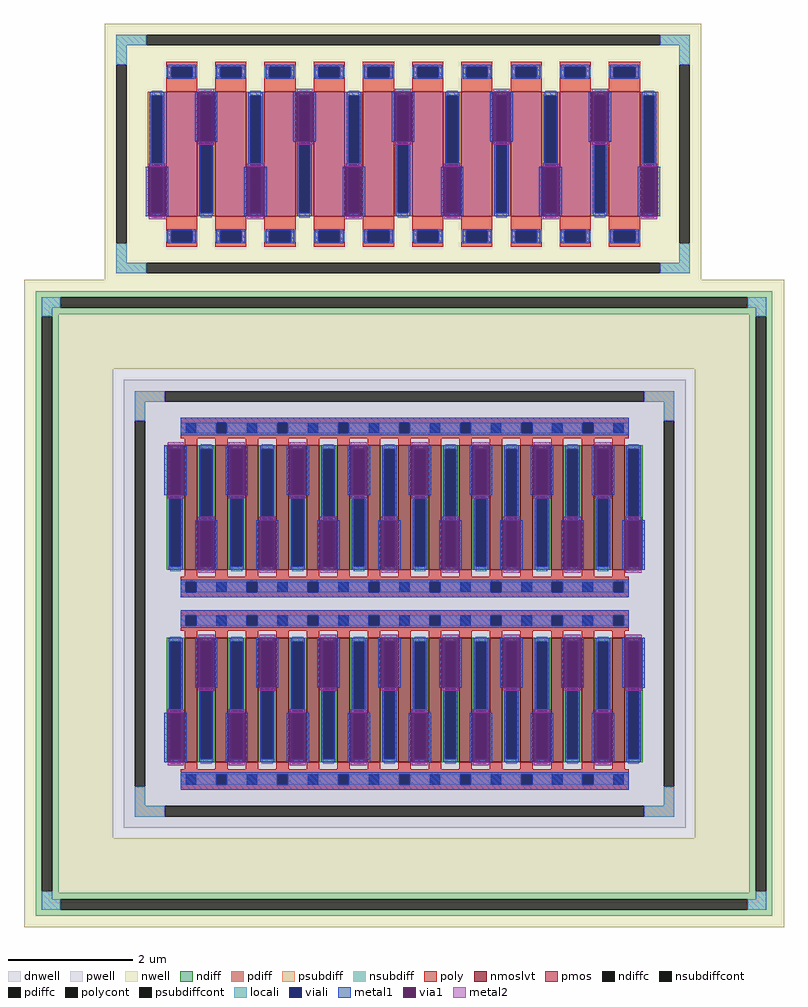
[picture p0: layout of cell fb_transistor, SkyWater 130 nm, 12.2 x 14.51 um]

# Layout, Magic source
magic
tech sky130A
magscale 1 2
<< dnwell >>
rect 5500 1960 7780 3880
<< nwell >>
rect 5420 3674 7860 3960
rect 5420 2166 5706 3674
rect 7574 2166 7860 3674
rect 5420 1880 7860 2166
<< pwell >>
rect 5923 3450 7361 3516
rect 5923 2940 7361 3006
rect 5923 2832 7361 2898
rect 5923 2322 7361 2388
<< nsubdiff >>
rect 5457 3903 7823 3923
rect 5457 3869 5537 3903
rect 7743 3869 7823 3903
rect 5457 3849 7823 3869
rect 5457 3843 5531 3849
rect 5457 1997 5477 3843
rect 5511 1997 5531 3843
rect 7749 3843 7823 3849
rect 5457 1991 5531 1997
rect 7749 1997 7769 3843
rect 7803 1997 7823 3843
rect 7749 1991 7823 1997
rect 5457 1971 7823 1991
rect 5457 1937 5537 1971
rect 7743 1937 7823 1971
rect 5457 1917 7823 1937
<< nsubdiffcont >>
rect 5537 3869 7743 3903
rect 5477 1997 5511 3843
rect 7769 1997 7803 3843
rect 5537 1937 7743 1971
<< poly >>
rect 5923 3500 7361 3516
rect 5923 3466 6037 3500
rect 6071 3466 6233 3500
rect 6267 3466 6429 3500
rect 6463 3466 6625 3500
rect 6659 3466 6821 3500
rect 6855 3466 7017 3500
rect 7051 3466 7213 3500
rect 7247 3466 7361 3500
rect 5923 3450 7361 3466
rect 5923 2990 7361 3006
rect 5923 2956 5939 2990
rect 5973 2956 6135 2990
rect 6169 2956 6331 2990
rect 6365 2956 6527 2990
rect 6561 2956 6723 2990
rect 6757 2956 6919 2990
rect 6953 2956 7115 2990
rect 7149 2956 7311 2990
rect 7345 2956 7361 2990
rect 5923 2940 7361 2956
rect 5923 2882 7361 2898
rect 5923 2848 5939 2882
rect 5973 2848 6135 2882
rect 6169 2848 6331 2882
rect 6365 2848 6527 2882
rect 6561 2848 6723 2882
rect 6757 2848 6919 2882
rect 6953 2848 7115 2882
rect 7149 2848 7311 2882
rect 7345 2848 7361 2882
rect 5923 2832 7361 2848
rect 5923 2372 7361 2388
rect 5923 2338 6037 2372
rect 6071 2338 6233 2372
rect 6267 2338 6429 2372
rect 6463 2338 6625 2372
rect 6659 2338 6821 2372
rect 6855 2338 7017 2372
rect 7051 2338 7213 2372
rect 7247 2338 7361 2372
rect 5923 2322 7361 2338
<< polycont >>
rect 6037 3466 6071 3500
rect 6233 3466 6267 3500
rect 6429 3466 6463 3500
rect 6625 3466 6659 3500
rect 6821 3466 6855 3500
rect 7017 3466 7051 3500
rect 7213 3466 7247 3500
rect 5939 2956 5973 2990
rect 6135 2956 6169 2990
rect 6331 2956 6365 2990
rect 6527 2956 6561 2990
rect 6723 2956 6757 2990
rect 6919 2956 6953 2990
rect 7115 2956 7149 2990
rect 7311 2956 7345 2990
rect 5939 2848 5973 2882
rect 6135 2848 6169 2882
rect 6331 2848 6365 2882
rect 6527 2848 6561 2882
rect 6723 2848 6757 2882
rect 6919 2848 6953 2882
rect 7115 2848 7149 2882
rect 7311 2848 7345 2882
rect 6037 2338 6071 2372
rect 6233 2338 6267 2372
rect 6429 2338 6463 2372
rect 6625 2338 6659 2372
rect 6821 2338 6855 2372
rect 7017 2338 7051 2372
rect 7213 2338 7247 2372
<< locali >>
rect 5477 3869 5537 3903
rect 7743 3869 7803 3903
rect 5477 3843 5511 3869
rect 7769 3843 7803 3869
rect 5923 3466 6037 3500
rect 6071 3466 6233 3500
rect 6267 3466 6429 3500
rect 6463 3466 6625 3500
rect 6659 3466 6821 3500
rect 6855 3466 7017 3500
rect 7051 3466 7213 3500
rect 7247 3466 7361 3500
rect 5923 2956 5939 2990
rect 5973 2956 6135 2990
rect 6169 2956 6331 2990
rect 6365 2956 6527 2990
rect 6561 2956 6723 2990
rect 6757 2956 6919 2990
rect 6953 2956 7115 2990
rect 7149 2956 7311 2990
rect 7345 2956 7361 2990
rect 5923 2848 5939 2882
rect 5973 2848 6135 2882
rect 6169 2848 6331 2882
rect 6365 2848 6527 2882
rect 6561 2848 6723 2882
rect 6757 2848 6919 2882
rect 6953 2848 7115 2882
rect 7149 2848 7311 2882
rect 7345 2848 7361 2882
rect 5923 2338 6037 2372
rect 6071 2338 6233 2372
rect 6267 2338 6429 2372
rect 6463 2338 6625 2372
rect 6659 2338 6821 2372
rect 6855 2338 7017 2372
rect 7051 2338 7213 2372
rect 7247 2338 7361 2372
rect 5477 1971 5511 1997
rect 7769 1971 7803 1997
rect 5477 1937 5537 1971
rect 7743 1937 7803 1971
<< viali >>
rect 6037 3466 6071 3500
rect 6233 3466 6267 3500
rect 6429 3466 6463 3500
rect 6625 3466 6659 3500
rect 6821 3466 6855 3500
rect 7017 3466 7051 3500
rect 7213 3466 7247 3500
rect 5939 2956 5973 2990
rect 6135 2956 6169 2990
rect 6331 2956 6365 2990
rect 6527 2956 6561 2990
rect 6723 2956 6757 2990
rect 6919 2956 6953 2990
rect 7115 2956 7149 2990
rect 7311 2956 7345 2990
rect 5939 2848 5973 2882
rect 6135 2848 6169 2882
rect 6331 2848 6365 2882
rect 6527 2848 6561 2882
rect 6723 2848 6757 2882
rect 6919 2848 6953 2882
rect 7115 2848 7149 2882
rect 7311 2848 7345 2882
rect 6037 2338 6071 2372
rect 6233 2338 6267 2372
rect 6429 2338 6463 2372
rect 6625 2338 6659 2372
rect 6821 2338 6855 2372
rect 7017 2338 7051 2372
rect 7213 2338 7247 2372
<< metal1 >>
rect 5969 4403 5979 4563
rect 6031 4403 6041 4563
rect 6285 4403 6295 4563
rect 6347 4403 6357 4563
rect 6601 4403 6611 4563
rect 6663 4403 6673 4563
rect 6917 4403 6927 4563
rect 6979 4403 6989 4563
rect 7233 4403 7243 4563
rect 7295 4403 7305 4563
rect 5811 4163 5821 4323
rect 5873 4163 5883 4323
rect 6127 4163 6137 4323
rect 6189 4163 6199 4323
rect 6443 4163 6453 4323
rect 6505 4163 6515 4323
rect 6759 4163 6769 4323
rect 6821 4163 6831 4323
rect 7075 4163 7085 4323
rect 7137 4163 7147 4323
rect 7391 4163 7401 4323
rect 7453 4163 7463 4323
rect 5923 3500 7361 3516
rect 5923 3466 6037 3500
rect 6071 3466 6233 3500
rect 6267 3466 6429 3500
rect 6463 3466 6625 3500
rect 6659 3466 6821 3500
rect 6855 3466 7017 3500
rect 7051 3466 7213 3500
rect 7247 3466 7361 3500
rect 5923 3460 7361 3466
rect 5871 3268 5881 3428
rect 5933 3268 5943 3428
rect 6067 3268 6077 3428
rect 6129 3268 6139 3428
rect 6263 3268 6273 3428
rect 6325 3268 6335 3428
rect 6459 3268 6469 3428
rect 6521 3268 6531 3428
rect 6655 3268 6665 3428
rect 6717 3268 6727 3428
rect 6851 3268 6861 3428
rect 6913 3268 6923 3428
rect 7047 3268 7057 3428
rect 7109 3268 7119 3428
rect 7243 3268 7253 3428
rect 7305 3268 7315 3428
rect 5969 3028 5979 3188
rect 6031 3028 6041 3188
rect 6165 3028 6175 3188
rect 6227 3028 6237 3188
rect 6361 3028 6371 3188
rect 6423 3028 6433 3188
rect 6557 3028 6567 3188
rect 6619 3028 6629 3188
rect 6753 3028 6763 3188
rect 6815 3028 6825 3188
rect 6949 3028 6959 3188
rect 7011 3028 7021 3188
rect 7145 3028 7155 3188
rect 7207 3028 7217 3188
rect 7341 3028 7351 3188
rect 7403 3028 7413 3188
rect 5923 2990 7361 2996
rect 5923 2956 5939 2990
rect 5973 2956 6135 2990
rect 6169 2956 6331 2990
rect 6365 2956 6527 2990
rect 6561 2956 6723 2990
rect 6757 2956 6919 2990
rect 6953 2956 7115 2990
rect 7149 2956 7311 2990
rect 7345 2956 7361 2990
rect 5923 2940 7361 2956
rect 5923 2882 7361 2898
rect 5923 2848 5939 2882
rect 5973 2848 6135 2882
rect 6169 2848 6331 2882
rect 6365 2848 6527 2882
rect 6561 2848 6723 2882
rect 6757 2848 6919 2882
rect 6953 2848 7115 2882
rect 7149 2848 7311 2882
rect 7345 2848 7361 2882
rect 5923 2842 7361 2848
rect 5969 2650 5979 2810
rect 6031 2650 6041 2810
rect 6165 2650 6175 2810
rect 6227 2650 6237 2810
rect 6361 2650 6371 2810
rect 6423 2650 6433 2810
rect 6557 2650 6567 2810
rect 6619 2650 6629 2810
rect 6753 2650 6763 2810
rect 6815 2650 6825 2810
rect 6949 2650 6959 2810
rect 7011 2650 7021 2810
rect 7145 2650 7155 2810
rect 7207 2650 7217 2810
rect 7341 2650 7351 2810
rect 7403 2650 7413 2810
rect 5871 2410 5881 2570
rect 5933 2410 5943 2570
rect 6067 2410 6077 2570
rect 6129 2410 6139 2570
rect 6263 2410 6273 2570
rect 6325 2410 6335 2570
rect 6459 2410 6469 2570
rect 6521 2410 6531 2570
rect 6655 2410 6665 2570
rect 6717 2410 6727 2570
rect 6851 2410 6861 2570
rect 6913 2410 6923 2570
rect 7047 2410 7057 2570
rect 7109 2410 7119 2570
rect 7243 2410 7253 2570
rect 7305 2410 7315 2570
rect 5923 2372 7361 2378
rect 5923 2338 6037 2372
rect 6071 2338 6233 2372
rect 6267 2338 6429 2372
rect 6463 2338 6625 2372
rect 6659 2338 6821 2372
rect 6855 2338 7017 2372
rect 7051 2338 7213 2372
rect 7247 2338 7361 2372
rect 5923 2322 7361 2338
<< via1 >>
rect 5979 4403 6031 4563
rect 6295 4403 6347 4563
rect 6611 4403 6663 4563
rect 6927 4403 6979 4563
rect 7243 4403 7295 4563
rect 5821 4163 5873 4323
rect 6137 4163 6189 4323
rect 6453 4163 6505 4323
rect 6769 4163 6821 4323
rect 7085 4163 7137 4323
rect 7401 4163 7453 4323
rect 5881 3268 5933 3428
rect 6077 3268 6129 3428
rect 6273 3268 6325 3428
rect 6469 3268 6521 3428
rect 6665 3268 6717 3428
rect 6861 3268 6913 3428
rect 7057 3268 7109 3428
rect 7253 3268 7305 3428
rect 5979 3028 6031 3188
rect 6175 3028 6227 3188
rect 6371 3028 6423 3188
rect 6567 3028 6619 3188
rect 6763 3028 6815 3188
rect 6959 3028 7011 3188
rect 7155 3028 7207 3188
rect 7351 3028 7403 3188
rect 5979 2650 6031 2810
rect 6175 2650 6227 2810
rect 6371 2650 6423 2810
rect 6567 2650 6619 2810
rect 6763 2650 6815 2810
rect 6959 2650 7011 2810
rect 7155 2650 7207 2810
rect 7351 2650 7403 2810
rect 5881 2410 5933 2570
rect 6077 2410 6129 2570
rect 6273 2410 6325 2570
rect 6469 2410 6521 2570
rect 6665 2410 6717 2570
rect 6861 2410 6913 2570
rect 7057 2410 7109 2570
rect 7253 2410 7305 2570
<< metal2 >>
rect 5979 4563 6031 4573
rect 5979 4393 6031 4403
rect 6295 4563 6347 4573
rect 6295 4393 6347 4403
rect 6611 4563 6663 4573
rect 6611 4393 6663 4403
rect 6927 4563 6979 4573
rect 6927 4393 6979 4403
rect 7243 4563 7295 4573
rect 7243 4393 7295 4403
rect 5821 4323 5873 4333
rect 5821 4153 5873 4163
rect 6137 4323 6189 4333
rect 6137 4153 6189 4163
rect 6453 4323 6505 4333
rect 6453 4153 6505 4163
rect 6769 4323 6821 4333
rect 6769 4153 6821 4163
rect 7085 4323 7137 4333
rect 7085 4153 7137 4163
rect 7401 4323 7453 4333
rect 7401 4153 7453 4163
rect 5881 3428 5933 3438
rect 5881 3258 5933 3268
rect 6077 3428 6129 3438
rect 6077 3258 6129 3268
rect 6273 3428 6325 3438
rect 6273 3258 6325 3268
rect 6469 3428 6521 3438
rect 6469 3258 6521 3268
rect 6665 3428 6717 3438
rect 6665 3258 6717 3268
rect 6861 3428 6913 3438
rect 6861 3258 6913 3268
rect 7057 3428 7109 3438
rect 7057 3258 7109 3268
rect 7253 3428 7305 3438
rect 7253 3258 7305 3268
rect 5979 3188 6031 3198
rect 5979 3018 6031 3028
rect 6175 3188 6227 3198
rect 6175 3018 6227 3028
rect 6371 3188 6423 3198
rect 6371 3018 6423 3028
rect 6567 3188 6619 3198
rect 6567 3018 6619 3028
rect 6763 3188 6815 3198
rect 6763 3018 6815 3028
rect 6959 3188 7011 3198
rect 6959 3018 7011 3028
rect 7155 3188 7207 3198
rect 7155 3018 7207 3028
rect 7351 3188 7403 3198
rect 7351 3018 7403 3028
rect 5979 2810 6031 2820
rect 5979 2640 6031 2650
rect 6175 2810 6227 2820
rect 6175 2640 6227 2650
rect 6371 2810 6423 2820
rect 6371 2640 6423 2650
rect 6567 2810 6619 2820
rect 6567 2640 6619 2650
rect 6763 2810 6815 2820
rect 6763 2640 6815 2650
rect 6959 2810 7011 2820
rect 6959 2640 7011 2650
rect 7155 2810 7207 2820
rect 7155 2640 7207 2650
rect 7351 2810 7403 2820
rect 7351 2640 7403 2650
rect 5881 2570 5933 2580
rect 5881 2400 5933 2410
rect 6077 2570 6129 2580
rect 6077 2400 6129 2410
rect 6273 2570 6325 2580
rect 6273 2400 6325 2410
rect 6469 2570 6521 2580
rect 6469 2400 6521 2410
rect 6665 2570 6717 2580
rect 6665 2400 6717 2410
rect 6861 2570 6913 2580
rect 6861 2400 6913 2410
rect 7057 2570 7109 2580
rect 7057 2400 7109 2410
rect 7253 2570 7305 2580
rect 7253 2400 7305 2410
use sky130_fd_pr__nfet_01v8_lvt_62U3RB  sky130_fd_pr__nfet_01v8_lvt_62U3RB_0
transform 1 0 6642 0 1 2919
box -902 -719 902 719
use sky130_fd_pr__pfet_01v8_GYVK57  sky130_fd_pr__pfet_01v8_GYVK57_0
transform 1 0 6637 0 1 4363
box -957 -419 957 419
<< end >>

# cell sky130_fd_pr__nfet_01v8_lvt_62U3RB: kit device sky130_fd_pr__nfet_01v8_lvt, w 2 l 0.2 m 2 nf 15 diffcov 100 polycov 100 guard 1 glc 1 grc 1 gtc 1 gbc 1 tbcov 100 rlcov 100 topc 1 botc 1 poverlap 0 doverlap 1 lmin 0.15 wmin 0.42 compatible {sky130_fd_pr__nfet_01v8 sky130_fd_pr__nfet_01v8_lvt sky130_fd_bs_flash__special_sonosfet_star sky130_fd_pr__nfet_g5v0d10v5 sky130_fd_pr__nfet_05v0_nvt sky130_fd_pr__nfet_03v3_nvt} full_metal 1 viasrc 100 viadrn 100 viagate 100 viagb 0 viagr 0 viagl 0 viagt 0

# cell sky130_fd_pr__pfet_01v8_GYVK57: kit device sky130_fd_pr__pfet_01v8, w 2 l 0.5 m 1 nf 10 diffcov 100 polycov 100 guard 1 glc 1 grc 1 gtc 1 gbc 1 tbcov 100 rlcov 100 topc 1 botc 1 poverlap 0 doverlap 1 lmin 0.15 wmin 0.42 compatible {sky130_fd_pr__pfet_01v8 sky130_fd_pr__pfet_01v8_lvt sky130_fd_pr__pfet_01v8_hvt sky130_fd_pr__pfet_g5v0d10v5} full_metal 1 viasrc 100 viadrn 100 viagate 100 viagb 0 viagr 0 viagl 0 viagt 0
